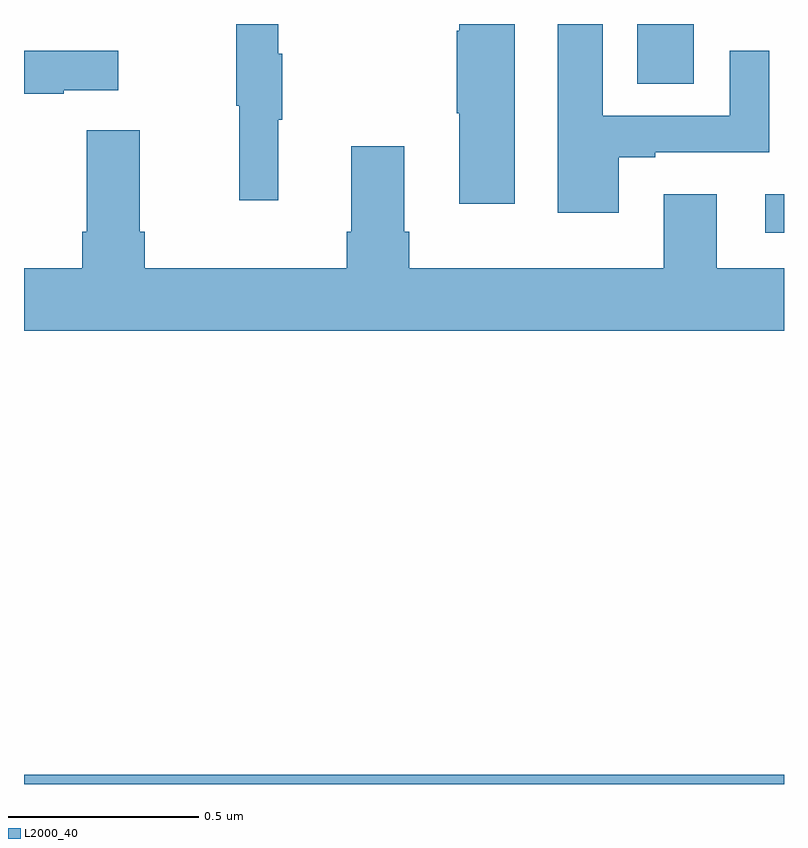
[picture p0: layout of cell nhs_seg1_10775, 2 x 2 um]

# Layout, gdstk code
import gdstk
lib = gdstk.Library(unit=1e-6, precision=1e-09)
def R(c, l, rs):  # rectangles x0, y0, x1, y1
    for r in rs: c.add(gdstk.rectangle(r[:2], r[2:], *l))
def P(c, l, *ps):  # polygons
    for p in ps: c.add(gdstk.Polygon(p, *l))
L2000_40 = (2000, 40)

nhs_seg1_10775 = lib.new_cell('nhs_seg1_10775')
R(nhs_seg1_10775, L2000_40, [(245,557.199,247,557.224), (246.951,558.65,247,558.751), (246.614,559.042,246.763,559.199)])
P(nhs_seg1_10775, L2000_40, [(245.669,558.947),(245.68,558.947),(245.68,559.121),(245.669,559.121),(245.669,559.199),(245.335,559.199),(245.335,559.198),(245.559,559.198),(245.559,558.984),(245.566,558.984),(245.566,558.735),(245.669,558.735)],
  [(246.565,558.849),(246.661,558.849),(246.661,558.861),(246.961,558.861),(246.961,559.129),(246.857,559.129),(246.857,558.957),(246.523,558.957),(246.523,559.199),(246.404,559.199),(246.404,558.702),(246.565,558.702)],
  [(246.292,559.199),(246.146,559.199),(246.146,559.181),(246.139,559.181),(246.139,558.964),(246.146,558.964),(246.146,558.726),(246.292,558.726)],
  [(245.105,559.025),(245.248,559.025),(245.248,559.129),(245,559.129),(245,559.015),(245.105,559.015)],
  [(247,558.556),(246.823,558.556),(246.823,558.751),(246.683,558.751),(246.683,558.556),(246.014,558.556),(246.014,558.652),(246.001,558.652),(246.001,558.877),(245.861,558.877),(245.861,558.652),(245.849,558.652),(245.849,558.556),(245.318,558.556),(245.318,558.652),(245.305,558.652),(245.305,558.919),(245.165,558.919),(245.165,558.652),(245.153,558.652),(245.153,558.556),(245,558.556),(245,558.392),(247,558.392)])

lib.write_gds('nhs_seg1_10775.gds')
